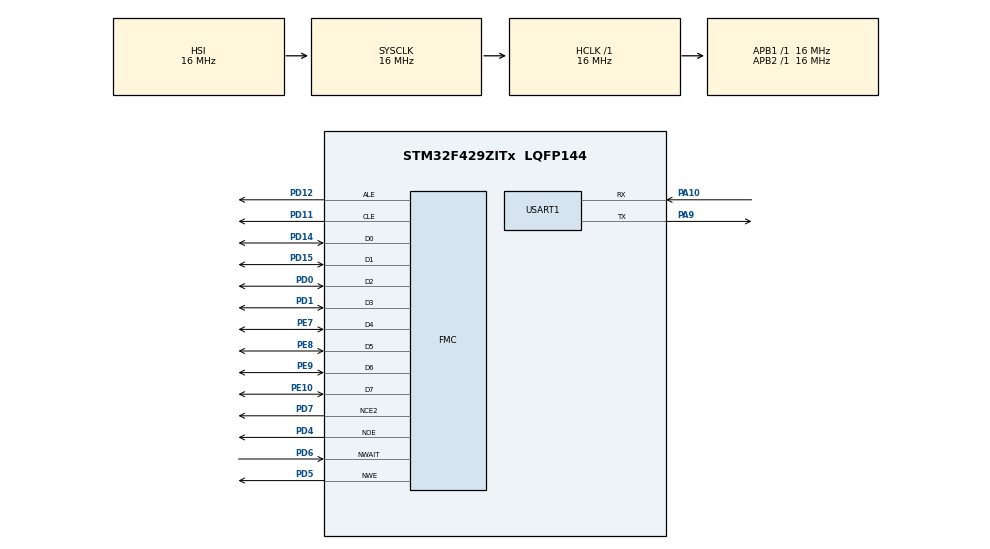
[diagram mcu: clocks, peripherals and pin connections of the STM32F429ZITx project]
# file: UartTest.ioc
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Mcu.Family=STM32F4
Mcu.Name=STM32F429ZITx
Mcu.Package=LQFP144
NVIC.PriorityGroup=NVIC_PRIORITYGROUP_4
PA10.Mode=Asynchronous
PA10.Signal=USART1_RX
PA9.Mode=Asynchronous
PA9.Signal=USART1_TX
PD0.Signal=FMC_D2_DA2
PD1.Signal=FMC_D3_DA3
PD11.Signal=FMC_A16_CLE
PD12.Signal=FMC_A17_ALE
PD14.Signal=FMC_D0_DA0
PD15.Signal=FMC_D1_DA1
PD4.Signal=FMC_NOE
PD5.Signal=FMC_NWE
PD6.Signal=FMC_NWAIT
PD7.Mode=NandChipSelect2_1
PD7.Signal=FMC_NCE2
PE10.Signal=FMC_D7_DA7
PE7.Signal=FMC_D4_DA4
PE8.Signal=FMC_D5_DA5
PE9.Signal=FMC_D6_DA6
ProjectManager.HeapSize=0x200
ProjectManager.StackSize=0x400
ProjectManager.TargetToolchain=STM32CubeIDE
RCC.48MHZClocksFreq_Value=48000000
RCC.AHBFreq_Value=16000000
RCC.APB1Freq_Value=16000000
RCC.APB2Freq_Value=16000000
RCC.CortexFreq_Value=16000000
RCC.HSE_VALUE=25000000
RCC.HSI_VALUE=16000000
RCC.LSE_VALUE=32768
RCC.SYSCLKFreq_VALUE=16000000
RCC.VCOOutputFreq_Value=192000000
SH.FMC_A16_CLE.0=FMC_CLE,8b-dmux1
SH.FMC_A17_ALE.0=FMC_ALE,8b-dmux1
SH.FMC_D0_DA0.0=FMC_D0,8b-dmux1
SH.FMC_D1_DA1.0=FMC_D1,8b-dmux1
SH.FMC_D2_DA2.0=FMC_D2,8b-dmux1
SH.FMC_D3_DA3.0=FMC_D3,8b-dmux1
SH.FMC_D4_DA4.0=FMC_D4,8b-dmux1
SH.FMC_D5_DA5.0=FMC_D5,8b-dmux1
SH.FMC_D6_DA6.0=FMC_D6,8b-dmux1
SH.FMC_D7_DA7.0=FMC_D7,8b-dmux1
SH.FMC_NOE.0=FMC_NOE,8b-dmux1
SH.FMC_NWAIT.0=FMC_NWAIT,Wait1
SH.FMC_NWE.0=FMC_NWE,8b-dmux1
USART1.VirtualMode=VM_ASYNC
board=custom

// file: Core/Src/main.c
/* USER CODE BEGIN Header */
/**
 ******************************************************************************
 * @file           : main.c
 * @brief          : Main program body
 * @author			: Naga Janaki
 ******************************************************************************
 * @attention
 *
 * <h2><center>&copy; Copyright (c) 2019 STMicroelectronics.
 * All rights reserved.</center></h2>
 *
 * This software component is licensed by ST under BSD 3-Clause license,
 * the "License"; You may not use this file except in compliance with the
 * License. You may obtain a copy of the License at:
 *                        opensource.org/licenses/BSD-3-Clause
 *
 ******************************************************************************
 */
/* USER CODE END Header */

#include "main.h"
#include <stdio.h>
#include <string.h>

static UART_HandleTypeDef huart1;

NAND_HandleTypeDef hnand1;

/* USER CODE BEGIN PV */
static NAND_HandleTypeDef hNAND; /* NAND handle */
static FMC_NAND_PCC_TimingTypeDef NAND_ComTiming; /* Common memory space timing */
static FMC_NAND_PCC_TimingTypeDef NAND_AttTiming; /* Attribute memory space timing */
uint8_t aTxBuffer[BUFFER_SIZE] = {0};
uint8_t aRxBuffer[BUFFER_SIZE]= {0};
uint16_t stableBytes[16384];
#define PAGE_0 0
#define PAGE_1 1
#define PAGE_2 2
#define PAGE_3 3
/* USER CODE END PV */

void SystemClock_Config(void);
static void MX_GPIO_Init(void);
static void MX_FMC_Init(void);
static void MX_USART1_UART_Init(void);
/* USER CODE BEGIN PFP */
int _write(int file, char *data, int len)
{
    HAL_StatusTypeDef status = HAL_UART_Transmit(&huart1, data, len, 1000);
    return (status == HAL_OK ? len : 0);
}
/* USER CODE END PFP */

/* USER CODE BEGIN 0 */
int NandControllerInitAndTest(void)
{
    //NAND_AddressTypedef Address;

    /*##-1- Configure the NAND device ###############################*/
    /* NAND device configuration */
    NAND_ComTiming.SetupTime = 0xf1;
    NAND_ComTiming.WaitSetupTime = 0xf2;
    NAND_ComTiming.HoldSetupTime = 0xf3;
    NAND_ComTiming.HiZSetupTime = 0xf1;
    NAND_AttTiming.SetupTime = 0xf1;
    NAND_AttTiming.WaitSetupTime = 0xf2;
    NAND_AttTiming.HoldSetupTime = 0xf3;
    NAND_AttTiming.HiZSetupTime = 0xf1;

    hNAND.Init.NandBank = FMC_NAND_BANK2;
    hNAND.Init.Waitfeature = FMC_NAND_PCC_WAIT_FEATURE_ENABLE;

    hNAND.Init.MemoryDataWidth = FMC_NAND_PCC_MEM_BUS_WIDTH_8;
    hNAND.Init.EccComputation = FMC_NAND_ECC_DISABLE;
    hNAND.Init.ECCPageSize = FMC_NAND_ECC_PAGE_SIZE_512BYTE;
    hNAND.Init.TCLRSetupTime = 0x0;
    hNAND.Init.TARSetupTime = 0x0;
    hNAND.Config.BlockNbr = 0x400;
    hNAND.Config.BlockSize = 0x40;
    hNAND.Config.PageSize = 0x800;
    hNAND.Config.PlaneNbr = 0x01;
    hNAND.Config.PlaneSize = 0x400;
    hNAND.Config.SpareAreaSize = 0x40;

    /* NAND controller initialization */
    if(HAL_NAND_Init(&hNAND, &NAND_ComTiming, &NAND_AttTiming) != HAL_OK)
    {
        return NAND_STATUS_INIT_ERROR;
    }

    NAND_AddressTypedef Address_BLOCK_0;
    NAND_AddressTypedef ReadAddress;

    Address_BLOCK_0.Page = PAGE_2;
    Address_BLOCK_0.Plane = 0;
    Address_BLOCK_0.Block = 0;

    ReadAddress.Block = 0;
    ReadAddress.Plane = 0;

    /* Send NAND erase block operation */
    if (HAL_NAND_Erase_Block(&hNAND, &Address_BLOCK_0) != HAL_OK)
    {
        return NAND_STATUS_ERASE_ERROR;
    }

    /* Load the buffer with AA */
    for(int i=0; i<BUFFER_SIZE; i++)
    {
        aTxBuffer[i] = 0XAA;
    }
    /* Program page 2 and read page 2 for 30k iterations*/
    for(int i = 0; i < 30000; i++)
    {
    	/* program page 2 with data in atxBuffer */
	   if (HAL_NAND_Write_Page_8b(&hNAND, &Address_BLOCK_0, aTxBuffer, 1) != HAL_OK)
	   {
			return NAND_STATUS_WRITE_ERROR;
	   }
	   /* read page 2 and observe data flips */
	   if (HAL_NAND_Read_Page_8b(&hNAND, &Address_BLOCK_0, aRxBuffer, 1) != HAL_OK)
	   {
			return NAND_STATUS_READ_ERROR;
	   }
	   printf("Iteration %d : ", i);
	   for(int k=0; k<BUFFER_SIZE; k++)
	       {
	           printf("0x%2x", aRxBuffer[k]);
	           printf(",");
	       }
    }
    // bitwise comparison to identify stableBits
    for(int i=0; i<BUFFER_SIZE; i++)
	{
		uint8_t xorres;
		xorres=aRxBuffer[i]^0XFF;
		if ((xorres & (0X80)) == 0X00)
		stableBytes[i*8+0]=1;
		if ((xorres & 0X40)==0X00)
		stableBytes[i*8+1]=1;
		if ((xorres & 0X20)==0X00)
		stableBytes[i*8+2]=1;
		if ((xorres & 0X10)==0X00)
		stableBytes[i*8+3]=1;
		if ((xorres & 0X08)==0X00)
		stableBytes[i*8+4]=1;
		if ((xorres & 0X04)==0X00)
		stableBytes[i*8+5]=1;
		if ((xorres & 0X02)==0X00)
		stableBytes[i*8+6]=1;
		if ((xorres & 0X01)==0X00)
		stableBytes[i*8+7]=1;
	}
	printf("Stable Bits: in page: 2\n");
	printf("{");
	for(int i =0; i<16384; i++)
	{
		if (stableBytes[i]==1)
		{
		printf("%d, ", i);
		}
	}
	printf("}\n");
	HAL_Delay(1000);

    return NAND_STATUS_OK;
}
/* USER CODE END 0 */

int main(void)
{

    /* MCU Configuration--------------------------------------------------------*/

    /* Reset of all peripherals, Initializes the Flash interface and the Systick. */
    HAL_Init();

    /* Configure the system clock */
    SystemClock_Config();

    /* Initialize all configured peripherals */
    MX_GPIO_Init();
    MX_FMC_Init();
    MX_USART1_UART_Init();

    /* Infinite loop */
    /* USER CODE BEGIN WHILE */
    NandControllerInitAndTest();
    while (1)
    {
        /* USER CODE END WHILE */
        /*if(NandControllerInitAndTest() != NAND_STATUS_OK){
            HAL_UART_Transmit(&huart1, errorMsg, sizeof(errorMsg), 100);
            HAL_Delay(500);
        }*/
    }
}

void SystemClock_Config(void)
{
    RCC_OscInitTypeDef RCC_OscInitStruct = {0};
    RCC_ClkInitTypeDef RCC_ClkInitStruct = {0};

    /** Configure the main internal regulator output voltage
     */
    __HAL_RCC_PWR_CLK_ENABLE();
    __HAL_PWR_VOLTAGESCALING_CONFIG(PWR_REGULATOR_VOLTAGE_SCALE3);
    /** Initializes the CPU, AHB and APB busses clocks
     */
    RCC_OscInitStruct.OscillatorType = RCC_OSCILLATORTYPE_HSI;
    RCC_OscInitStruct.HSIState = RCC_HSI_ON;
    RCC_OscInitStruct.HSICalibrationValue = RCC_HSICALIBRATION_DEFAULT;
    RCC_OscInitStruct.PLL.PLLState = RCC_PLL_NONE;
    if (HAL_RCC_OscConfig(&RCC_OscInitStruct) != HAL_OK)
    {
        Error_Handler();
    }
    /** Initializes the CPU, AHB and APB busses clocks
     */
    RCC_ClkInitStruct.ClockType = RCC_CLOCKTYPE_HCLK|RCC_CLOCKTYPE_SYSCLK
    |RCC_CLOCKTYPE_PCLK1|RCC_CLOCKTYPE_PCLK2;
    RCC_ClkInitStruct.SYSCLKSource = RCC_SYSCLKSOURCE_HSI;
    RCC_ClkInitStruct.AHBCLKDivider = RCC_SYSCLK_DIV1;
    RCC_ClkInitStruct.APB1CLKDivider = RCC_HCLK_DIV1;
    RCC_ClkInitStruct.APB2CLKDivider = RCC_HCLK_DIV1;

    if (HAL_RCC_ClockConfig(&RCC_ClkInitStruct, FLASH_LATENCY_0) != HAL_OK)
    {
        Error_Handler();
    }
}

static void MX_USART1_UART_Init(void)
{
    //HAL_UART_StateTypeDef

    huart1.Instance = USART1;
    huart1.Init.BaudRate = 115200;
    huart1.Init.WordLength = UART_WORDLENGTH_8B;
    huart1.Init.StopBits = UART_STOPBITS_1;
    huart1.Init.Parity = UART_PARITY_NONE;
    huart1.Init.Mode = UART_MODE_TX_RX;
    huart1.Init.HwFlowCtl = UART_HWCONTROL_NONE;
    huart1.Init.OverSampling = UART_OVERSAMPLING_16;

    if (HAL_UART_Init(&huart1) != HAL_OK)
    {
        Error_Handler();
    }

}

/* FMC initialization function */
static void MX_FMC_Init(void)
{

    FMC_NAND_PCC_TimingTypeDef ComSpaceTiming = {0};
    FMC_NAND_PCC_TimingTypeDef AttSpaceTiming = {0};

    /** Perform the NAND1 memory initialization sequence
     */
    hnand1.Instance = FMC_NAND_DEVICE;
    /* hnand1.Init */
    hnand1.Init.NandBank = FMC_NAND_BANK2;
    hnand1.Init.Waitfeature = FMC_NAND_PCC_WAIT_FEATURE_ENABLE;
    hnand1.Init.MemoryDataWidth = FMC_NAND_PCC_MEM_BUS_WIDTH_8;
    hnand1.Init.EccComputation = FMC_NAND_ECC_DISABLE;
    hnand1.Init.ECCPageSize = FMC_NAND_ECC_PAGE_SIZE_256BYTE;
    hnand1.Init.TCLRSetupTime = 0;
    hnand1.Init.TARSetupTime = 0;
    /* hnand1.Config */
    hnand1.Config.PageSize = 0;
    hnand1.Config.SpareAreaSize = 0;
    hnand1.Config.BlockSize = 0;
    hnand1.Config.BlockNbr = 0;
    hnand1.Config.PlaneNbr = 0;
    hnand1.Config.PlaneSize = 0;
    hnand1.Config.ExtraCommandEnable = DISABLE;
    /* ComSpaceTiming */
    ComSpaceTiming.SetupTime = 252;
    ComSpaceTiming.WaitSetupTime = 252;
    ComSpaceTiming.HoldSetupTime = 252;
    ComSpaceTiming.HiZSetupTime = 252;
    /* AttSpaceTiming */
    AttSpaceTiming.SetupTime = 252;
    AttSpaceTiming.WaitSetupTime = 252;
    AttSpaceTiming.HoldSetupTime = 252;
    AttSpaceTiming.HiZSetupTime = 252;

    if (HAL_NAND_Init(&hnand1, &ComSpaceTiming, &AttSpaceTiming) != HAL_OK)
    {
        Error_Handler( );
    }

}

static void MX_GPIO_Init(void)
{

    /* GPIO Ports Clock Enable */
    __HAL_RCC_GPIOE_CLK_ENABLE();
    __HAL_RCC_GPIOD_CLK_ENABLE();
    __HAL_RCC_GPIOA_CLK_ENABLE();

}

void Error_Handler(void)
{
}

/************************ (C) COPYRIGHT STMicroelectronics *****END OF FILE****/
